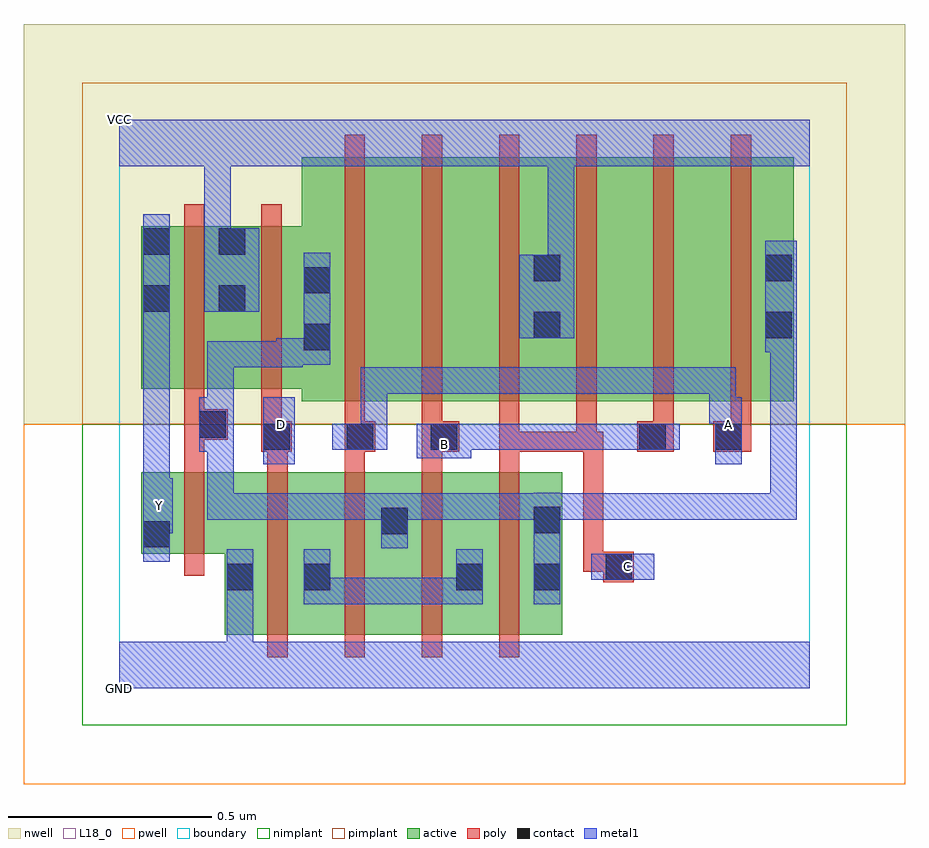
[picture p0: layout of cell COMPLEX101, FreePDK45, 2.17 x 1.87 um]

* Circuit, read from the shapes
.subckt COMPLEX101 A B C D GND VCC Y
M1 GND n1 Y VSUBS nfet w=0.2u l=0.05u
M2 n2 D GND VSUBS nfet w=0.4u l=0.05u
M3 n1 A n2 VSUBS nfet w=0.4u l=0.05u
M4 n2 B n1 VSUBS nfet w=0.4u l=0.05u
M5 n1 C n2 VSUBS nfet w=0.4u l=0.05u
M6 VCC n1 Y n3 pfet w=0.4u l=0.05u
M7 n1 D VCC n3 pfet w=0.4u l=0.05u
M8 n4 A n1 n3 pfet w=0.6u l=0.05u
M9 n5 B n4 n3 pfet w=0.6u l=0.05u
M10 VCC C n5 n3 pfet w=0.6u l=0.05u
M11 n6 C VCC n3 pfet w=0.6u l=0.05u
M12 n7 B n6 n3 pfet w=0.6u l=0.05u
M13 n1 A n7 n3 pfet w=0.6u l=0.05u
.ends

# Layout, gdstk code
import gdstk
lib = gdstk.Library(unit=1e-6, precision=1e-09)
def R(c, l, rs):  # rectangles x0, y0, x1, y1
    for r in rs: c.add(gdstk.rectangle(r[:2], r[2:], *l))
def A(c, l, x, y, w, h, nx, ny, dx, dy):  # array of equal rectangles
    R(c, l, [(x+i*dx, y+j*dy, x+i*dx+w, y+j*dy+h) for i in range(nx) for j in range(ny)])
active = (1, 0)
pwell = (2, 0)
nwell = (3, 0)
nimplant = (4, 0)
pimplant = (5, 0)
poly = (9, 0)
contact = (10, 0)
metal1 = (11, 0)
L18_0 = (18, 0)
boundary = (235, 0)

complex101 = lib.new_cell('COMPLEX101')
R(complex101, active, [(0.26,0.132,0.525,0.532), (0.45,0.132,0.715,0.532), (0.64,0.132,0.9,0.532), (0.825,0.132,1.09,0.532), (0.45,0.195,0.525,0.492), (0.64,0.195,0.715,0.532), (0.825,0.195,0.9,0.492), (1.015,0.195,1.09,0.532), (0.26,0.237,0.335,0.397), (0.055,0.332,0.335,0.532), (0.055,0.332,0.13,0.532), (0.45,0.707,0.675,1.307), (0.675,0.707,0.865,1.307), (0.865,0.707,1.09,1.307), (1.015,0.707,1.245,1.307), (1.015,0.707,1.09,1.307), (1.245,0.707,1.435,1.307), (1.435,0.707,1.66,1.307), (1.585,0.707,1.66,1.2), (0.055,0.737,0.315,1.137), (0.055,0.737,0.13,1.137), (0.24,0.737,0.525,1.137), (0.45,0.737,0.525,1.2), (0.24,0.802,0.315,1.137)])
R(complex101, pwell, [(-0.235,-0.235,1.935,0.65)])
R(complex101, nwell, [(-0.235,0.65,1.935,1.635)])
R(complex101, nimplant, [(-0.09,-0.09,1.79,0.65)])
R(complex101, pimplant, [(-0.09,0.65,1.79,1.49)])
A(complex101, poly, 0.365, 0.077, 0.05, 0.51, 4, 1, 0.19, 0)
A(complex101, poly, 0.365, 0.537, 0.05, 0.095, 4, 1, 0.19, 0)
A(complex101, poly, 0.555, 0.652, 0.05, 0.71, 6, 1, 0.19, 0)
R(complex101, poly, [(1.192,0.262,1.267,0.337), (0.16,0.277,0.21,0.587), (1.142,0.287,1.192,0.632), (1.142,0.287,1.242,0.337), (1.192,0.287,1.242,0.337), (0.16,0.537,0.21,0.662), (0.35,0.582,0.425,0.657), (0.555,0.582,0.63,0.657), (0.745,0.582,0.837,0.657), (0.935,0.582,0.985,0.702), (0.935,0.582,1.175,0.632), (0.935,0.582,0.985,0.632), (0.935,0.582,0.985,0.632), (0.935,0.582,0.985,0.632), (1.125,0.582,1.175,0.702), (1.125,0.582,1.192,0.632), (1.275,0.582,1.365,0.657), (1.462,0.582,1.555,0.657), (0.35,0.607,0.4,0.732), (0.555,0.607,0.605,0.702), (0.745,0.607,0.795,0.702), (1.315,0.607,1.365,0.702), (1.505,0.607,1.555,0.702), (0.16,0.612,0.267,0.687), (0.16,0.637,0.21,0.732), (0.16,0.682,0.21,1.192), (0.35,0.682,0.4,1.192)])
R(complex101, contact, [(0.265,0.242,0.33,0.307), (0.455,0.242,0.52,0.307), (0.83,0.242,0.895,0.307), (1.02,0.242,1.085,0.307), (1.197,0.267,1.262,0.332), (0.06,0.347,0.125,0.412), (0.645,0.38,0.71,0.445), (1.02,0.382,1.085,0.447), (0.355,0.587,0.42,0.652), (0.56,0.587,0.625,0.652), (0.767,0.587,0.832,0.652), (1.28,0.587,1.345,0.652), (1.467,0.587,1.532,0.652), (0.197,0.617,0.262,0.682), (0.455,0.832,0.52,0.897), (1.02,0.862,1.085,0.927), (1.59,0.862,1.655,0.927), (0.06,0.927,0.125,0.992), (0.245,0.927,0.31,0.992), (0.455,0.972,0.52,1.037), (1.02,1.002,1.085,1.067), (1.59,1.002,1.655,1.067), (0.06,1.067,0.125,1.132), (0.245,1.067,0.31,1.132)])
R(complex101, metal1, [(0,0,1.7,0.115), (0.265,0.05,0.33,0.115), (0.265,0.05,0.33,0.115), (0.265,0.05,0.33,0.272), (0.265,0.207,0.33,0.342), (0.455,0.207,0.657,0.272), (0.455,0.207,0.52,0.342), (0.592,0.207,0.657,0.272), (0.592,0.207,0.657,0.272), (0.592,0.207,0.657,0.272), (0.592,0.207,0.895,0.272), (0.83,0.207,0.895,0.272), (0.83,0.207,0.895,0.272), (0.83,0.207,0.895,0.342), (1.02,0.207,1.085,0.482), (1.162,0.267,1.317,0.332), (0.06,0.312,0.125,0.447), (0.645,0.345,0.71,0.48), (0.06,0.382,0.125,0.447), (0.06,0.382,0.132,0.517), (0.217,0.415,0.282,0.48), (0.217,0.415,0.452,0.48), (0.217,0.415,0.282,0.647), (0.387,0.415,0.452,0.48), (0.387,0.415,0.452,0.48), (0.387,0.415,0.452,0.48), (0.387,0.415,0.59,0.48), (0.525,0.415,0.59,0.48), (0.525,0.415,0.71,0.48), (0.645,0.415,0.847,0.48), (0.782,0.415,0.847,0.48), (0.782,0.415,0.847,0.48), (0.782,0.415,0.847,0.48), (0.782,0.415,1.035,0.48), (0.97,0.415,1.035,0.48), (0.97,0.415,1.085,0.48), (1.02,0.415,1.172,0.48), (1.107,0.415,1.172,0.48), (1.107,0.415,1.38,0.48), (1.315,0.415,1.38,0.48), (1.315,0.415,1.38,0.48), (1.315,0.415,1.38,0.48), (1.315,0.415,1.517,0.48), (1.452,0.415,1.517,0.48), (1.452,0.415,1.667,0.48), (1.602,0.415,1.667,0.48), (1.602,0.415,1.667,0.48), (1.602,0.415,1.667,0.48), (1.602,0.415,1.667,0.892), (0.06,0.452,0.125,0.957), (0.355,0.552,0.432,0.717), (1.467,0.552,1.532,0.717), (0.732,0.567,0.867,0.652), (0.197,0.582,0.262,0.717), (0.197,0.582,0.282,0.647), (0.217,0.582,0.282,0.647), (0.217,0.582,0.282,0.855), (0.525,0.587,0.66,0.652), (0.595,0.587,0.66,0.652), (0.595,0.587,0.66,0.652), (0.595,0.587,0.66,0.79), (0.802,0.587,0.867,0.652), (0.802,0.587,0.867,0.652), (0.802,0.587,1.032,0.652), (0.967,0.587,1.032,0.652), (0.967,0.587,1.032,0.652), (0.967,0.587,1.032,0.652), (0.967,0.587,1.172,0.652), (1.107,0.587,1.172,0.652), (1.107,0.587,1.31,0.652), (1.245,0.587,1.31,0.652), (1.245,0.587,1.31,0.652), (1.245,0.587,1.38,0.652), (1.452,0.652,1.517,0.717), (1.452,0.652,1.532,0.717), (1.452,0.652,1.517,0.79), (0.595,0.725,0.66,0.79), (0.595,0.725,0.847,0.79), (0.782,0.725,0.847,0.79), (0.782,0.725,0.847,0.79), (0.782,0.725,0.847,0.79), (0.782,0.725,1.035,0.79), (0.97,0.725,1.035,0.79), (0.97,0.725,1.172,0.79), (1.107,0.725,1.172,0.79), (1.107,0.725,1.172,0.79), (1.107,0.725,1.172,0.79), (1.107,0.725,1.31,0.79), (1.245,0.725,1.31,0.79), (1.245,0.725,1.31,0.79), (1.245,0.725,1.31,0.79), (1.245,0.725,1.517,0.79), (1.452,0.725,1.517,0.79), (0.217,0.79,0.282,0.855), (0.217,0.79,0.452,0.855), (0.387,0.79,0.452,0.862), (0.387,0.797,0.52,0.862), (0.455,0.797,0.52,1.072), (1.59,0.827,1.667,1.102), (1.602,0.827,1.667,0.892), (1.602,0.827,1.667,0.892), (0.985,0.862,1.12,1.067), (0.06,0.892,0.125,1.167), (0.21,0.927,0.345,1.132), (1.055,1.002,1.12,1.35), (0.21,1.067,0.275,1.35), (0,1.285,1.7,1.4), (0.21,1.285,0.275,1.35), (0.21,1.285,0.275,1.35)])
R(complex101, L18_0, [(0,0,1.7,0.115), (0.265,0.05,0.33,0.115), (0.265,0.05,0.33,0.115), (0.265,0.05,0.33,0.272), (0.265,0.207,0.33,0.342), (1.162,0.267,1.317,0.332), (1.217,0.267,1.282,0.332), (0.06,0.312,0.125,0.447), (0.06,0.382,0.132,0.517), (0.06,0.382,0.125,0.447), (0.067,0.417,0.132,0.482), (0.06,0.452,0.125,0.957), (0.355,0.552,0.432,0.717), (1.467,0.552,1.532,0.717), (0.732,0.567,0.867,0.652), (0.767,0.567,0.832,0.632), (0.525,0.587,0.66,0.652), (0.595,0.587,0.66,0.652), (0.595,0.587,0.66,0.652), (0.595,0.587,0.66,0.79), (0.802,0.587,0.867,0.652), (0.802,0.587,0.867,0.652), (0.802,0.587,1.032,0.652), (0.967,0.587,1.032,0.652), (0.967,0.587,1.032,0.652), (0.967,0.587,1.032,0.652), (0.967,0.587,1.172,0.652), (1.107,0.587,1.172,0.652), (1.107,0.587,1.31,0.652), (1.245,0.587,1.31,0.652), (1.245,0.587,1.31,0.652), (1.245,0.587,1.38,0.652), (0.367,0.617,0.432,0.682), (1.467,0.617,1.532,0.682), (1.452,0.652,1.517,0.717), (1.452,0.652,1.517,0.79), (1.452,0.652,1.532,0.717), (0.595,0.725,0.66,0.79), (0.595,0.725,0.847,0.79), (0.782,0.725,0.847,0.79), (0.782,0.725,0.847,0.79), (0.782,0.725,0.847,0.79), (0.782,0.725,1.035,0.79), (0.97,0.725,1.035,0.79), (0.97,0.725,1.172,0.79), (1.107,0.725,1.172,0.79), (1.107,0.725,1.172,0.79), (1.107,0.725,1.172,0.79), (1.107,0.725,1.31,0.79), (1.245,0.725,1.31,0.79), (1.245,0.725,1.31,0.79), (1.245,0.725,1.31,0.79), (1.245,0.725,1.517,0.79), (1.452,0.725,1.517,0.79), (0.985,0.862,1.12,1.067), (0.06,0.892,0.125,1.167), (0.21,0.927,0.345,1.132), (1.055,1.002,1.12,1.35), (0.21,1.067,0.275,1.35), (0,1.285,1.7,1.4), (0.21,1.285,0.275,1.35), (0.21,1.285,0.275,1.35)])
R(complex101, boundary, [(0,0,1.7,1.4)])
complex101.add(gdstk.Label('A', (1.5,0.65), layer=11, texttype=0))
complex101.add(gdstk.Label('B', (0.8,0.6), layer=11, texttype=0))
complex101.add(gdstk.Label('C', (1.25,0.3), layer=11, texttype=0))
complex101.add(gdstk.Label('D', (0.4,0.65), layer=11, texttype=0))
complex101.add(gdstk.Label('Y', (0.1,0.45), layer=11, texttype=0))
complex101.add(gdstk.Label('VCC', (0,1.4), layer=11, texttype=0))
complex101.add(gdstk.Label('GND', (0,0), layer=11, texttype=0))

lib.write_gds('COMPLEX101.gds')
